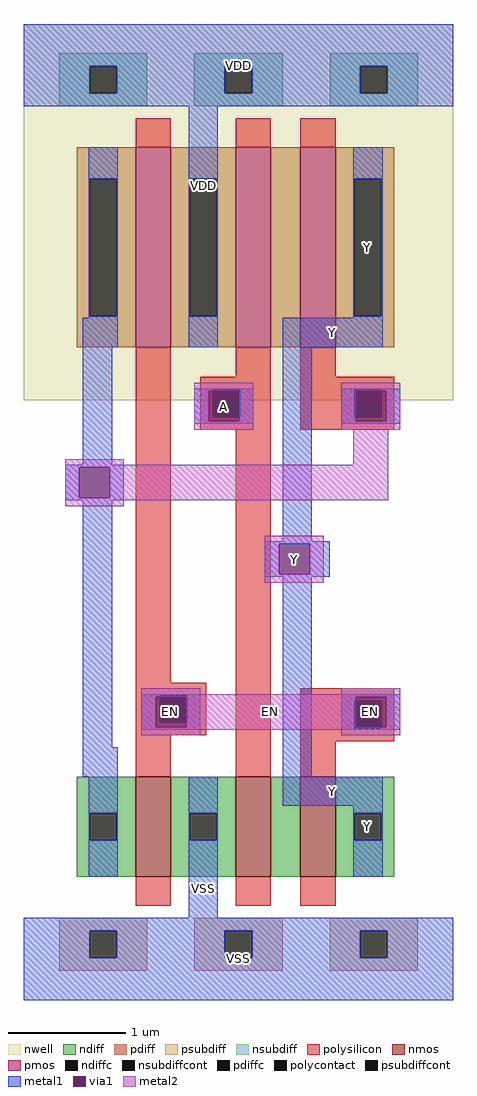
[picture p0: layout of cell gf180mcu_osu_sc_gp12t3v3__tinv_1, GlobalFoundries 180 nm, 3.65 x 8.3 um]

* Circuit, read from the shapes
.subckt gf180mcu_osu_sc_gp12t3v3__tinv_1 A Y EN VDD VSS
XM1 VSS EN n1 VSS nfet_03v3 w=0.85u l=0.3u
XM2 n2 A VSS VSS nfet_03v3 w=0.85u l=0.3u
XM3 Y EN n2 VSS nfet_03v3 w=0.85u l=0.3u
XM4 VDD EN n1 VDD pfet_03v3 w=1.7u l=0.3u
XM5 n3 A VDD VDD pfet_03v3 w=1.7u l=0.3u
XM6 Y n1 n3 VDD pfet_03v3 w=1.7u l=0.3u
.ends

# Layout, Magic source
magic
tech gf180mcuA
magscale 1 10
<< nwell >>
rect 0 1020 730 1660
<< nmos >>
rect 190 210 250 380
rect 360 210 420 380
rect 470 210 530 380
<< pmos >>
rect 190 1110 250 1450
rect 360 1110 420 1450
rect 470 1110 530 1450
<< ndiff >>
rect 90 318 190 380
rect 90 272 112 318
rect 158 272 190 318
rect 90 210 190 272
rect 250 318 360 380
rect 250 272 282 318
rect 328 272 360 318
rect 250 210 360 272
rect 420 210 470 380
rect 530 318 630 380
rect 530 272 562 318
rect 608 272 630 318
rect 530 210 630 272
<< pdiff >>
rect 90 1397 190 1450
rect 90 1163 112 1397
rect 158 1163 190 1397
rect 90 1110 190 1163
rect 250 1397 360 1450
rect 250 1163 282 1397
rect 328 1163 360 1397
rect 250 1110 360 1163
rect 420 1110 470 1450
rect 530 1397 630 1450
rect 530 1163 562 1397
rect 608 1163 630 1397
rect 530 1110 630 1163
<< ndiffc >>
rect 112 272 158 318
rect 282 272 328 318
rect 562 272 608 318
<< pdiffc >>
rect 112 1163 158 1397
rect 282 1163 328 1397
rect 562 1163 608 1397
<< psubdiff >>
rect 60 118 210 140
rect 60 72 112 118
rect 158 72 210 118
rect 60 50 210 72
rect 290 118 440 140
rect 290 72 342 118
rect 388 72 440 118
rect 290 50 440 72
rect 520 118 670 140
rect 520 72 572 118
rect 618 72 670 118
rect 520 50 670 72
<< nsubdiff >>
rect 60 1588 210 1610
rect 60 1542 112 1588
rect 158 1542 210 1588
rect 60 1520 210 1542
rect 290 1588 440 1610
rect 290 1542 342 1588
rect 388 1542 440 1588
rect 290 1520 440 1542
rect 520 1588 670 1610
rect 520 1542 572 1588
rect 618 1542 670 1588
rect 520 1520 670 1542
<< psubdiffcont >>
rect 112 72 158 118
rect 342 72 388 118
rect 572 72 618 118
<< nsubdiffcont >>
rect 112 1542 158 1588
rect 342 1542 388 1588
rect 572 1542 618 1588
<< polysilicon >>
rect 190 1450 250 1500
rect 360 1450 420 1500
rect 470 1450 530 1500
rect 190 540 250 1110
rect 360 1060 420 1110
rect 300 1038 420 1060
rect 300 992 322 1038
rect 368 992 420 1038
rect 300 970 420 992
rect 470 1060 530 1110
rect 470 1038 630 1060
rect 470 992 562 1038
rect 608 992 630 1038
rect 470 970 630 992
rect 190 518 310 540
rect 190 472 232 518
rect 278 472 310 518
rect 190 450 310 472
rect 190 380 250 450
rect 360 380 420 970
rect 470 508 630 530
rect 470 462 562 508
rect 608 462 630 508
rect 470 440 630 462
rect 470 380 530 440
rect 190 160 250 210
rect 360 160 420 210
rect 470 160 530 210
<< polycontact >>
rect 322 992 368 1038
rect 562 992 608 1038
rect 232 472 278 518
rect 562 462 608 508
<< metal1 >>
rect 0 1588 730 1660
rect 0 1542 112 1588
rect 158 1542 342 1588
rect 388 1542 572 1588
rect 618 1542 730 1588
rect 0 1520 730 1542
rect 110 1397 160 1450
rect 110 1163 112 1397
rect 158 1163 160 1397
rect 110 1160 160 1163
rect 100 1110 160 1160
rect 280 1397 330 1520
rect 280 1163 282 1397
rect 328 1163 330 1397
rect 280 1110 330 1163
rect 560 1397 610 1450
rect 560 1163 562 1397
rect 608 1163 610 1397
rect 560 1160 610 1163
rect 440 1110 610 1160
rect 100 910 150 1110
rect 290 1038 390 1040
rect 290 1036 322 1038
rect 290 984 314 1036
rect 368 992 390 1038
rect 366 984 390 992
rect 290 980 390 984
rect 70 906 170 910
rect 70 854 94 906
rect 146 854 170 906
rect 70 850 170 854
rect 100 430 150 850
rect 440 780 490 1110
rect 540 1038 640 1040
rect 540 992 562 1038
rect 608 1036 640 1038
rect 540 984 564 992
rect 616 984 640 1036
rect 540 980 640 984
rect 410 776 520 780
rect 410 724 434 776
rect 486 724 520 776
rect 410 720 520 724
rect 200 518 300 520
rect 200 516 232 518
rect 200 464 224 516
rect 278 472 300 518
rect 276 464 300 472
rect 200 460 300 464
rect 100 380 160 430
rect 440 380 490 720
rect 540 516 640 520
rect 540 508 564 516
rect 540 462 562 508
rect 616 464 640 516
rect 608 462 640 464
rect 540 460 640 462
rect 110 318 160 380
rect 110 272 112 318
rect 158 272 160 318
rect 110 210 160 272
rect 280 318 330 380
rect 440 330 610 380
rect 280 272 282 318
rect 328 272 330 318
rect 280 140 330 272
rect 560 318 610 330
rect 560 272 562 318
rect 608 272 610 318
rect 560 210 610 272
rect 0 118 730 140
rect 0 72 112 118
rect 158 72 342 118
rect 388 72 572 118
rect 618 72 730 118
rect 0 0 730 72
<< via1 >>
rect 314 992 322 1036
rect 322 992 366 1036
rect 314 984 366 992
rect 94 854 146 906
rect 564 992 608 1036
rect 608 992 616 1036
rect 564 984 616 992
rect 434 724 486 776
rect 224 472 232 516
rect 232 472 276 516
rect 224 464 276 472
rect 564 508 616 516
rect 564 464 608 508
rect 608 464 616 508
<< metal2 >>
rect 290 1036 390 1050
rect 290 984 314 1036
rect 366 984 390 1036
rect 290 970 390 984
rect 540 1036 640 1050
rect 540 984 564 1036
rect 616 984 640 1036
rect 540 970 640 984
rect 70 910 170 920
rect 560 910 620 970
rect 70 906 620 910
rect 70 854 94 906
rect 146 854 620 906
rect 70 850 620 854
rect 70 840 170 850
rect 410 776 510 790
rect 410 724 434 776
rect 486 724 510 776
rect 410 710 510 724
rect 200 520 300 530
rect 540 520 640 530
rect 200 516 640 520
rect 200 464 224 516
rect 276 464 564 516
rect 616 464 640 516
rect 200 460 640 464
rect 200 450 300 460
rect 540 450 640 460
<< labels >>
rlabel via1 s 314 984 366 1036 4 A
port 1 nsew signal input
rlabel via1 s 434 724 486 776 4 Y
port 2 nsew signal output
rlabel via1 s 564 464 616 516 4 EN
port 3 nsew signal input
rlabel metal1 s 280 1110 330 1660 4 VDD
port 4 nsew power bidirectional abutment
rlabel metal1 s 280 0 330 380 4 VSS
port 5 nsew ground bidirectional abutment
rlabel metal1 s 0 1520 730 1660 1 VDD
port 4 nsew power bidirectional abutment
rlabel metal1 s 0 0 730 140 1 VSS
port 5 nsew ground bidirectional abutment
rlabel metal2 s 290 970 390 1050 1 A
port 1 nsew signal input
rlabel metal1 s 290 980 390 1040 1 A
port 1 nsew signal input
rlabel via1 s 224 464 276 516 1 EN
port 3 nsew signal input
rlabel metal2 s 200 450 300 530 1 EN
port 3 nsew signal input
rlabel metal2 s 200 460 640 520 1 EN
port 3 nsew signal input
rlabel metal2 s 540 450 640 530 1 EN
port 3 nsew signal input
rlabel metal1 s 200 460 300 520 1 EN
port 3 nsew signal input
rlabel metal1 s 540 460 640 520 1 EN
port 3 nsew signal input
rlabel metal2 s 410 710 510 790 1 Y
port 2 nsew signal output
rlabel metal1 s 440 330 490 1160 1 Y
port 2 nsew signal output
rlabel metal1 s 410 720 520 780 1 Y
port 2 nsew signal output
rlabel metal1 s 440 1110 610 1160 1 Y
port 2 nsew signal output
rlabel metal1 s 560 210 610 380 1 Y
port 2 nsew signal output
rlabel metal1 s 440 330 610 380 1 Y
port 2 nsew signal output
rlabel metal1 s 560 1110 610 1450 1 Y
port 2 nsew signal output
<< properties >>
string FIXED_BBOX 0 0 730 1660
string GDS_END 515706
string GDS_FILE $PDKPATH/libs.ref/gf180mcu_osu_sc_gp12t3v3/gds/gf180mcu_osu_sc_gp12t3v3.gds
string GDS_START 509812
string LEFclass CORE
string LEFsite gf180mcu_osu_sc_gp12t3v3
string LEFsymmetry X Y
<< end >>
